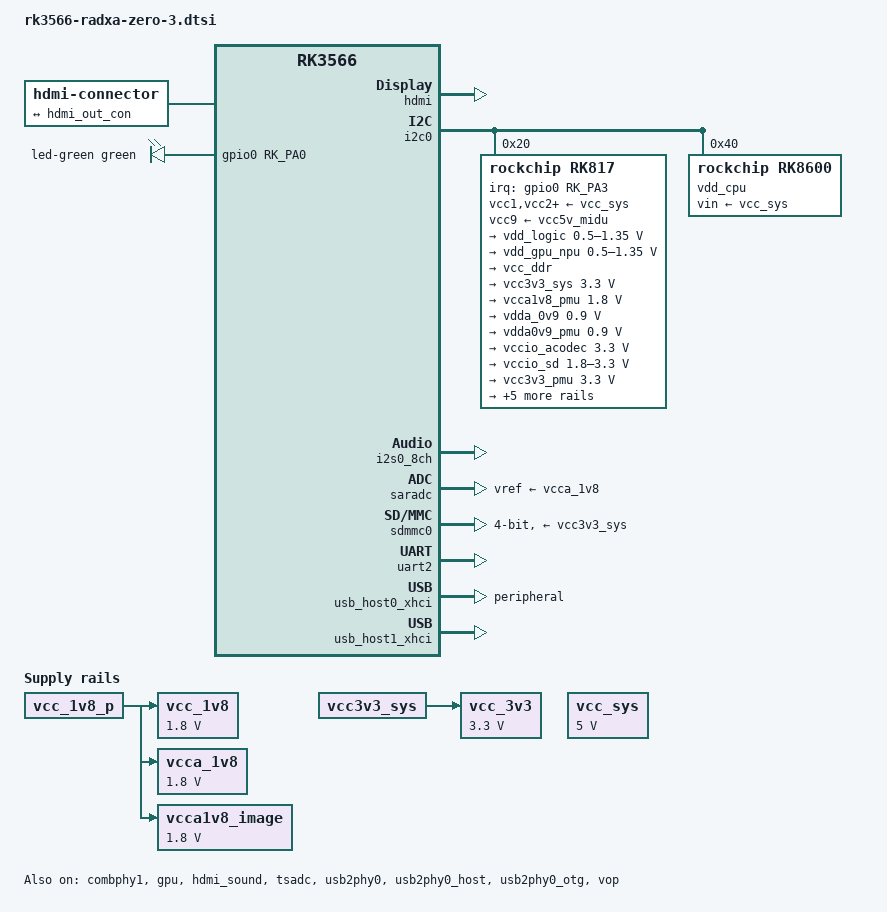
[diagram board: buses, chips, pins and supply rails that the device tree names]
// SPDX-License-Identifier: (GPL-2.0+ OR MIT)

#include <dt-bindings/gpio/gpio.h>
#include <dt-bindings/leds/common.h>
#include <dt-bindings/soc/rockchip,vop2.h>
#include "rk3566.dtsi"

/ {
	aliases {
		mmc0 = &sdmmc0;
	};

	chosen {
		stdout-path = "serial2:1500000n8";
	};

	hdmi-con {
		compatible = "hdmi-connector";
		type = "d";

		port {
			hdmi_con_in: endpoint {
				remote-endpoint = <&hdmi_out_con>;
			};
		};
	};

	leds {
		compatible = "gpio-leds";
		pinctrl-names = "default";
		pinctrl-0 = <&user_led2>;

		led-green {
			color = <LED_COLOR_ID_GREEN>;
			default-state = "on";
			function = LED_FUNCTION_HEARTBEAT;
			gpios = <&gpio0 RK_PA0 GPIO_ACTIVE_HIGH>;
			linux,default-trigger = "heartbeat";
		};
	};

	vcc_1v8: regulator-1v8-vcc {
		compatible = "regulator-fixed";
		regulator-name = "vcc_1v8";
		regulator-always-on;
		regulator-boot-on;
		regulator-min-microvolt = <1800000>;
		regulator-max-microvolt = <1800000>;
		vin-supply = <&vcc_1v8_p>;
	};

	vcca_1v8: regulator-1v8-vcca {
		compatible = "regulator-fixed";
		regulator-name = "vcca_1v8";
		regulator-always-on;
		regulator-boot-on;
		regulator-min-microvolt = <1800000>;
		regulator-max-microvolt = <1800000>;
		vin-supply = <&vcc_1v8_p>;
	};

	vcca1v8_image: regulator-1v8-vcca-image {
		compatible = "regulator-fixed";
		regulator-name = "vcca1v8_image";
		regulator-always-on;
		regulator-boot-on;
		regulator-min-microvolt = <1800000>;
		regulator-max-microvolt = <1800000>;
		vin-supply = <&vcc_1v8_p>;
	};

	vcc_3v3: regulator-3v3-vcc {
		compatible = "regulator-fixed";
		regulator-name = "vcc_3v3";
		regulator-always-on;
		regulator-boot-on;
		regulator-min-microvolt = <3300000>;
		regulator-max-microvolt = <3300000>;
		vin-supply = <&vcc3v3_sys>;
	};

	vcc_sys: regulator-5v0-vcc-sys {
		compatible = "regulator-fixed";
		regulator-name = "vcc_sys";
		regulator-always-on;
		regulator-boot-on;
		regulator-min-microvolt = <5000000>;
		regulator-max-microvolt = <5000000>;
	};
};

&combphy1 {
	status = "okay";
};

&cpu0 {
	cpu-supply = <&vdd_cpu>;
};

&cpu1 {
	cpu-supply = <&vdd_cpu>;
};

&cpu2 {
	cpu-supply = <&vdd_cpu>;
};

&cpu3 {
	cpu-supply = <&vdd_cpu>;
};

&gpu {
	mali-supply = <&vdd_gpu_npu>;
	status = "okay";
};

&hdmi {
	avdd-0v9-supply = <&vdda_0v9>;
	avdd-1v8-supply = <&vcca1v8_image>;
	status = "okay";
};

&hdmi_in {
	hdmi_in_vp0: endpoint {
		remote-endpoint = <&vp0_out_hdmi>;
	};
};

&hdmi_out {
	hdmi_out_con: endpoint {
		remote-endpoint = <&hdmi_con_in>;
	};
};

&hdmi_sound {
	status = "okay";
};

&i2c0 {
	status = "okay";

	rk817: pmic@20 {
		compatible = "rockchip,rk817";
		reg = <0x20>;
		#clock-cells = <1>;
		clock-output-names = "rk817-clkout1", "rk817-clkout2";
		interrupt-parent = <&gpio0>;
		interrupts = <RK_PA3 IRQ_TYPE_LEVEL_LOW>;
		pinctrl-names = "default";
		pinctrl-0 = <&pmic_int_l>;
		system-power-controller;
		wakeup-source;

		vcc1-supply = <&vcc_sys>;
		vcc2-supply = <&vcc_sys>;
		vcc3-supply = <&vcc_sys>;
		vcc4-supply = <&vcc_sys>;
		vcc5-supply = <&vcc_sys>;
		vcc6-supply = <&vcc_sys>;
		vcc7-supply = <&vcc_sys>;
		vcc8-supply = <&vcc_sys>;
		vcc9-supply = <&vcc5v_midu>;

		regulators {
			vdd_logic: DCDC_REG1 {
				regulator-name = "vdd_logic";
				regulator-always-on;
				regulator-boot-on;
				regulator-initial-mode = <0x2>;
				regulator-min-microvolt = <500000>;
				regulator-max-microvolt = <1350000>;
				regulator-ramp-delay = <6001>;

				regulator-state-mem {
					regulator-off-in-suspend;
					regulator-suspend-microvolt = <900000>;
				};
			};

			vdd_gpu_npu: DCDC_REG2 {
				regulator-name = "vdd_gpu_npu";
				regulator-always-on;
				regulator-boot-on;
				regulator-initial-mode = <0x2>;
				regulator-min-microvolt = <500000>;
				regulator-max-microvolt = <1350000>;
				regulator-ramp-delay = <6001>;

				regulator-state-mem {
					regulator-off-in-suspend;
				};
			};

			vcc_ddr: DCDC_REG3 {
				regulator-name = "vcc_ddr";
				regulator-always-on;
				regulator-boot-on;
				regulator-initial-mode = <0x2>;

				regulator-state-mem {
					regulator-on-in-suspend;
				};
			};

			vcc3v3_sys: DCDC_REG4 {
				regulator-name = "vcc3v3_sys";
				regulator-always-on;
				regulator-boot-on;
				regulator-initial-mode = <0x2>;
				regulator-min-microvolt = <3300000>;
				regulator-max-microvolt = <3300000>;

				regulator-state-mem {
					regulator-on-in-suspend;
					regulator-suspend-microvolt = <3300000>;
				};
			};

			vcca1v8_pmu: LDO_REG1 {
				regulator-name = "vcca1v8_pmu";
				regulator-always-on;
				regulator-boot-on;
				regulator-min-microvolt = <1800000>;
				regulator-max-microvolt = <1800000>;

				regulator-state-mem {
					regulator-on-in-suspend;
					regulator-suspend-microvolt = <1800000>;
				};
			};

			vdda_0v9: LDO_REG2 {
				regulator-name = "vdda_0v9";
				regulator-always-on;
				regulator-boot-on;
				regulator-min-microvolt = <900000>;
				regulator-max-microvolt = <900000>;

				regulator-state-mem {
					regulator-off-in-suspend;
				};
			};

			vdda0v9_pmu: LDO_REG3 {
				regulator-name = "vdda0v9_pmu";
				regulator-always-on;
				regulator-boot-on;
				regulator-min-microvolt = <900000>;
				regulator-max-microvolt = <900000>;

				regulator-state-mem {
					regulator-on-in-suspend;
					regulator-suspend-microvolt = <900000>;
				};
			};

			vccio_acodec: LDO_REG4 {
				regulator-name = "vccio_acodec";
				regulator-always-on;
				regulator-boot-on;
				regulator-min-microvolt = <3300000>;
				regulator-max-microvolt = <3300000>;

				regulator-state-mem {
					regulator-off-in-suspend;
				};
			};

			vccio_sd: LDO_REG5 {
				regulator-name = "vccio_sd";
				regulator-always-on;
				regulator-boot-on;
				regulator-min-microvolt = <1800000>;
				regulator-max-microvolt = <3300000>;

				regulator-state-mem {
					regulator-off-in-suspend;
				};
			};

			vcc3v3_pmu: LDO_REG6 {
				regulator-name = "vcc3v3_pmu";
				regulator-always-on;
				regulator-boot-on;
				regulator-min-microvolt = <3300000>;
				regulator-max-microvolt = <3300000>;

				regulator-state-mem {
					regulator-on-in-suspend;
					regulator-suspend-microvolt = <3300000>;
				};
			};

			vcc_1v8_p: LDO_REG7 {
				regulator-name = "vcc_1v8_p";
				regulator-always-on;
				regulator-boot-on;
				regulator-min-microvolt = <1800000>;
				regulator-max-microvolt = <1800000>;

				regulator-state-mem {
					regulator-off-in-suspend;
				};
			};

			vcc1v8_dvp: LDO_REG8 {
				regulator-name = "vcc1v8_dvp";
				regulator-always-on;
				regulator-boot-on;
				regulator-min-microvolt = <1800000>;
				regulator-max-microvolt = <1800000>;

				regulator-state-mem {
					regulator-off-in-suspend;
				};
			};

			vcc2v8_dvp: LDO_REG9 {
				regulator-name = "vcc2v8_dvp";
				regulator-always-on;
				regulator-boot-on;
				regulator-min-microvolt = <2800000>;
				regulator-max-microvolt = <2800000>;

				regulator-state-mem {
					regulator-off-in-suspend;
				};
			};

			vcc5v_midu: BOOST {
				regulator-name = "vcc5v_midu";
				regulator-always-on;
				regulator-boot-on;
				regulator-min-microvolt = <5000000>;
				regulator-max-microvolt = <5000000>;

				regulator-state-mem {
					regulator-off-in-suspend;
				};
			};

			vbus: OTG_SWITCH {
				regulator-name = "vbus";

				regulator-state-mem {
					regulator-off-in-suspend;
				};
			};
		};
	};

	vdd_cpu: regulator@40 {
		compatible = "rockchip,rk8600";
		reg = <0x40>;
		fcs,suspend-voltage-selector = <1>;
		regulator-name = "vdd_cpu";
		regulator-always-on;
		regulator-boot-on;
		regulator-min-microvolt = <712500>;
		regulator-max-microvolt = <1390000>;
		regulator-ramp-delay = <2300>;
		vin-supply = <&vcc_sys>;

		regulator-state-mem {
			regulator-off-in-suspend;
		};
	};
};

&i2s0_8ch {
	status = "okay";
};

&pinctrl {
	leds {
		user_led2: user-led2 {
			rockchip,pins = <0 RK_PA0 RK_FUNC_GPIO &pcfg_pull_none>;
		};
	};

	pmic {
		pmic_int_l: pmic-int-l {
			rockchip,pins = <0 RK_PA3 RK_FUNC_GPIO &pcfg_pull_up>;
		};
	};
};

&pmu_io_domains {
	pmuio1-supply = <&vcc3v3_pmu>;
	pmuio2-supply = <&vcca1v8_pmu>;
	vccio1-supply = <&vccio_acodec>;
	vccio2-supply = <&vcc_1v8>;
	vccio3-supply = <&vccio_sd>;
	vccio4-supply = <&vcc_1v8>;
	vccio5-supply = <&vcc_3v3>;
	vccio6-supply = <&vcc_3v3>;
	vccio7-supply = <&vcc_3v3>;
	status = "okay";
};

&saradc {
	vref-supply = <&vcca_1v8>;
	status = "okay";
};

&sdmmc0 {
	bus-width = <4>;
	cap-sd-highspeed;
	disable-wp;
	pinctrl-names = "default";
	pinctrl-0 = <&sdmmc0_bus4 &sdmmc0_clk &sdmmc0_cmd &sdmmc0_det>;
	vmmc-supply = <&vcc3v3_sys>;
	vqmmc-supply = <&vccio_sd>;
	status = "okay";
};

&tsadc {
	rockchip,hw-tshut-mode = <1>;
	rockchip,hw-tshut-polarity = <0>;
	status = "okay";
};

&uart2 {
	status = "okay";
};

&usb_host0_xhci {
	dr_mode = "peripheral";
	status = "okay";
};

&usb_host1_xhci {
	status = "okay";
};

&usb2phy0 {
	status = "okay";
};

&usb2phy0_host {
	status = "okay";
};

&usb2phy0_otg {
	status = "okay";
};

&vop {
	assigned-clocks = <&cru DCLK_VOP0>, <&cru DCLK_VOP1>;
	assigned-clock-parents = <&pmucru PLL_HPLL>, <&cru PLL_VPLL>;
	status = "okay";
};

&vop_mmu {
	status = "okay";
};

&vp0 {
	vp0_out_hdmi: endpoint@ROCKCHIP_VOP2_EP_HDMI0 {
		reg = <ROCKCHIP_VOP2_EP_HDMI0>;
		remote-endpoint = <&hdmi_in_vp0>;
	};
};
